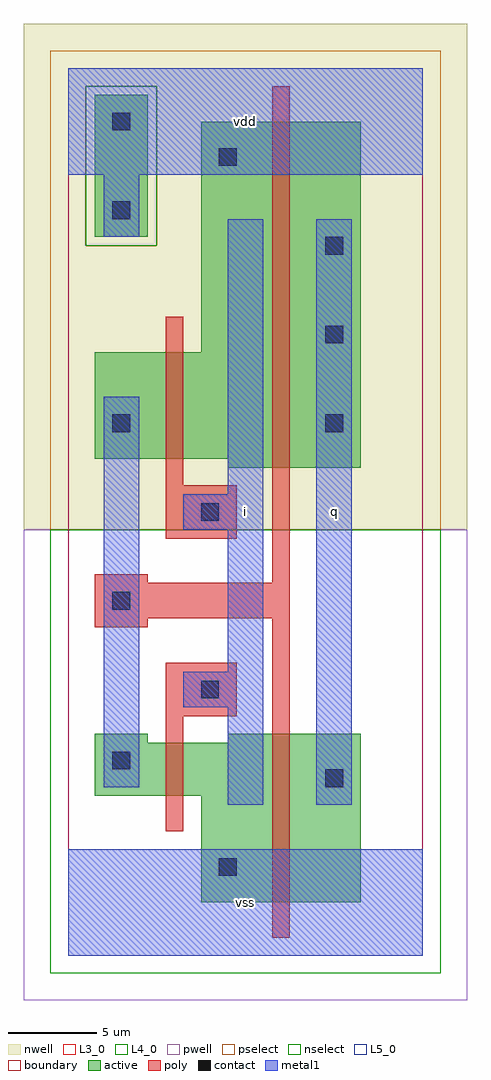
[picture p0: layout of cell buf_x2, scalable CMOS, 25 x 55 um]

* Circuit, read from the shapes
.subckt buf_x2 i q vdd vss
M1 vss i n1 VSUBS nfet w=3u l=1u
M2 q n1 vss VSUBS nfet w=9.5u l=1u
M3 vdd i n1 vdd pfet w=6u l=1u
M4 q n1 vdd vdd pfet w=19.5u l=1u
.ends

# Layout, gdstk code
import gdstk
lib = gdstk.Library(unit=1e-6, precision=1e-09)
def R(c, l, rs):  # rectangles x0, y0, x1, y1
    for r in rs: c.add(gdstk.rectangle(r[:2], r[2:], *l))
def A(c, l, x, y, w, h, nx, ny, dx, dy):  # array of equal rectangles
    R(c, l, [(x+i*dx, y+j*dy, x+i*dx+w, y+j*dy+h) for i in range(nx) for j in range(ny)])
L3_0 = (3, 0)
L4_0 = (4, 0)
L5_0 = (5, 0)
contact = (25, 0)
pwell = (41, 0)
nwell = (42, 0)
active = (43, 0)
pselect = (44, 0)
nselect = (45, 0)
poly = (46, 0)
metal1 = (49, 0)
boundary = (63, 0)

buf_x2 = lib.new_cell('buf_x2')
R(buf_x2, L3_0, [(7.5,3,16.5,9), (1.5,9,16.5,12), (1.5,12,4.5,12.5), (9,12,16.5,12.5)])
R(buf_x2, L4_0, [(9,27.5,16.5,28), (1.5,28,16.5,34), (7.5,34,16.5,47)])
R(buf_x2, L5_0, [(1.5,40.5,4.5,48.5)])
A(buf_x2, contact, 14.5, 29.5, 1, 1, 1, 3, 0, 5)
R(buf_x2, contact, [(8.5,4.5,9.5,5.5), (14.5,9.5,15.5,10.5), (2.5,10.5,3.5,11.5), (7.5,14.5,8.5,15.5), (2.5,19.5,3.5,20.5), (7.5,24.5,8.5,25.5), (2.5,29.5,3.5,30.5), (2.5,41.5,3.5,42.5), (8.5,44.5,9.5,45.5), (2.5,46.5,3.5,47.5)])
R(buf_x2, pwell, [(-2.5,-2.5,22.5,24)])
R(buf_x2, nwell, [(-2.5,24,22.5,52.5)])
R(buf_x2, active, [(7.5,3,16.5,9), (1.5,9,16.5,12), (1.5,12,4.5,12.5), (9,12,16.5,12.5), (9,27.5,16.5,28), (1.5,28,16.5,34), (7.5,34,16.5,47), (1.5,40.5,4.5,48.5)])
R(buf_x2, pselect, [(-1,24,21,40), (-1,40,1,49), (5,40,21,49), (-1,49,21,51)])
R(buf_x2, nselect, [(-1,-1,21,24), (1,40,5,49)])
R(buf_x2, poly, [(11.5,1,12.5,19), (5.5,7,6.5,13.5), (5.5,13.5,9.5,16.5), (1.5,18.5,4.5,19), (1.5,19,12.5,21), (1.5,21,4.5,21.5), (11.5,21,12.5,49), (5.5,23.5,9.5,26.5), (5.5,26.5,6.5,36)])
R(buf_x2, metal1, [(0,0,20,6), (0,0,20,6), (9,8.5,11,14), (9,8.5,11,14), (14,8.5,16,41.5), (14,8.5,16,41.5), (2,9.5,4,31.5), (2,9.5,4,31.5), (6.5,14,11,16), (6.5,14,11,16), (9,16,11,24), (9,16,11,24), (6.5,24,11,26), (6.5,24,11,26), (9,26,11,41.5), (9,26,11,41.5), (2,40.5,4,44), (2,40.5,4,44), (0,44,20,50), (0,44,20,50)])
R(buf_x2, boundary, [(0,0,20,50)])
buf_x2.add(gdstk.Label('vss', (10,3), layer=49, texttype=0))
buf_x2.add(gdstk.Label('i', (10,25), layer=49, texttype=0))
buf_x2.add(gdstk.Label('vdd', (10,47), layer=49, texttype=0))
buf_x2.add(gdstk.Label('q', (15,25), layer=49, texttype=0))

lib.write_gds('buf_x2.gds')
